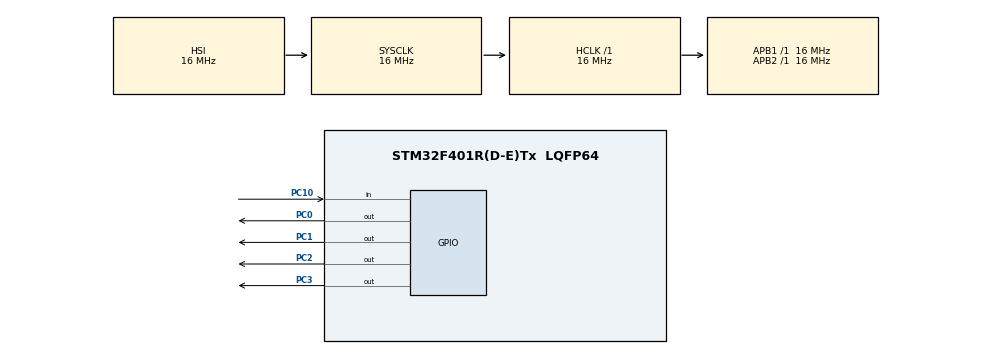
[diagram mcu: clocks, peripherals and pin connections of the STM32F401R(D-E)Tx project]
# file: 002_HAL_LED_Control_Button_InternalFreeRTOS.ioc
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FREERTOS.Tasks01=LedControl,0,128,StartLedTask,Default,NULL,Dynamic,NULL,NULL;ButtonControl,0,128,StartButtonControl,Default,NULL,Dynamic,NULL,NULL
FREERTOS.configIDLE_SHOULD_YIELD=0
FREERTOS.configMAX_TASK_NAME_LEN=16
Mcu.Family=STM32F4
Mcu.Name=STM32F401R(D-E)Tx
Mcu.Package=LQFP64
NVIC.PriorityGroup=NVIC_PRIORITYGROUP_4
PC0.GPIO_Speed=GPIO_SPEED_FREQ_HIGH
PC0.Signal=GPIO_Output
PC1.GPIO_Speed=GPIO_SPEED_FREQ_HIGH
PC1.Signal=GPIO_Output
PC10.GPIO_PuPd=GPIO_PULLDOWN
PC10.Signal=GPIO_Input
PC2.GPIO_Speed=GPIO_SPEED_FREQ_HIGH
PC2.Signal=GPIO_Output
PC3.GPIO_Speed=GPIO_SPEED_FREQ_HIGH
PC3.Signal=GPIO_Output
ProjectManager.HeapSize=0x200
ProjectManager.StackSize=0x400
ProjectManager.TargetToolchain=STM32CubeIDE
RCC.AHBFreq_Value=16000000
RCC.APB1Freq_Value=16000000
RCC.APB2Freq_Value=16000000
RCC.CortexFreq_Value=16000000
RCC.HSE_VALUE=25000000
RCC.HSI_VALUE=16000000
RCC.LSE_VALUE=32768
RCC.SYSCLKFreq_VALUE=16000000
RCC.VCOOutputFreq_Value=192000000
VP_FREERTOS_VS_CMSIS_V1.Mode=CMSIS_V1
board=custom

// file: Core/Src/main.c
/* USER CODE BEGIN Header */
/**
  ******************************************************************************
  * @file           : main.c
  * @brief          : Main program body
  ******************************************************************************
  * @attention
  *
  * Copyright (c) 2023 STMicroelectronics.
  * All rights reserved.
  *
  * This software is licensed under terms that can be found in the LICENSE file
  * in the root directory of this software component.
  * If no LICENSE file comes with this software, it is provided AS-IS.
  *
  ******************************************************************************
  */
/* USER CODE END Header */
#include "main.h"
#include "cmsis_os.h"

osThreadId LedControlHandle;  //TaskHandle_t LedControlHandle
osThreadId ButtonControlHandle; //TaskHandle_t ButtonControlHandle

void SystemClock_Config(void);
static void MX_GPIO_Init(void);

void StartLedTask(void const * argument);
void StartButtonControl(void const * argument);

/* USER CODE BEGIN 0 */
uint8_t count=0;
/* USER CODE END 0 */

int main(void)
{

  /* MCU Configuration--------------------------------------------------------*/

  /* Reset of all peripherals, Initializes the Flash interface and the Systick. */
  HAL_Init();

  /* Configure the system clock */
  SystemClock_Config();

  /* Initialize all configured peripherals */
  MX_GPIO_Init();

  /* Create the thread(s) */
  /* definition and creation of LedControl */
  osThreadDef(LedControl, StartLedTask, osPriorityNormal, 0,128);
  LedControlHandle = osThreadCreate(osThread(LedControl), NULL);

  //xTaskCreate(StartLedTask,"LedControl",128,NULL,2,&LedControlHandle)
  /* definition and creation of ButtonControl */
  osThreadDef(ButtonControl, StartButtonControl, osPriorityNormal, 0, 128);
  ButtonControlHandle = osThreadCreate(osThread(ButtonControl), NULL);
  //xTaskCreate(StartButtonControl,"ButtonControl",128,NULL,2,&ButtonControlHandle)

  /* Start scheduler */
  osKernelStart();
  // vTaskStartSchedular()

  /* We should never get here as control is now taken by the scheduler */
  /* Infinite loop */
  while (1)
  {

  }
}

void SystemClock_Config(void)
{
  RCC_OscInitTypeDef RCC_OscInitStruct = {0};
  RCC_ClkInitTypeDef RCC_ClkInitStruct = {0};

  /** Configure the main internal regulator output voltage
  */
  __HAL_RCC_PWR_CLK_ENABLE();
  __HAL_PWR_VOLTAGESCALING_CONFIG(PWR_REGULATOR_VOLTAGE_SCALE2);

  /** Initializes the RCC Oscillators according to the specified parameters
  * in the RCC_OscInitTypeDef structure.
  */
  RCC_OscInitStruct.OscillatorType = RCC_OSCILLATORTYPE_HSI;
  RCC_OscInitStruct.HSIState = RCC_HSI_ON;
  RCC_OscInitStruct.HSICalibrationValue = RCC_HSICALIBRATION_DEFAULT;
  RCC_OscInitStruct.PLL.PLLState = RCC_PLL_NONE;
  if (HAL_RCC_OscConfig(&RCC_OscInitStruct) != HAL_OK)
  {
    Error_Handler();
  }

  /** Initializes the CPU, AHB and APB buses clocks
  */
  RCC_ClkInitStruct.ClockType = RCC_CLOCKTYPE_HCLK|RCC_CLOCKTYPE_SYSCLK
                              |RCC_CLOCKTYPE_PCLK1|RCC_CLOCKTYPE_PCLK2;
  RCC_ClkInitStruct.SYSCLKSource = RCC_SYSCLKSOURCE_HSI;
  RCC_ClkInitStruct.AHBCLKDivider = RCC_SYSCLK_DIV1;
  RCC_ClkInitStruct.APB1CLKDivider = RCC_HCLK_DIV1;
  RCC_ClkInitStruct.APB2CLKDivider = RCC_HCLK_DIV1;

  if (HAL_RCC_ClockConfig(&RCC_ClkInitStruct, FLASH_LATENCY_0) != HAL_OK)
  {
    Error_Handler();
  }
}

static void MX_GPIO_Init(void)
{
  GPIO_InitTypeDef GPIO_InitStruct = {0};

  /* GPIO Ports Clock Enable */
  __HAL_RCC_GPIOC_CLK_ENABLE();

  /*Configure GPIO pin Output Level */
  HAL_GPIO_WritePin(GPIOC, GPIO_PIN_0|GPIO_PIN_1|GPIO_PIN_2|GPIO_PIN_3, GPIO_PIN_RESET);

  /*Configure GPIO pins : PC0 PC1 PC2 PC3 */
  GPIO_InitStruct.Pin = GPIO_PIN_0|GPIO_PIN_1|GPIO_PIN_2|GPIO_PIN_3;
  GPIO_InitStruct.Mode = GPIO_MODE_OUTPUT_PP;
  GPIO_InitStruct.Pull = GPIO_NOPULL;
  GPIO_InitStruct.Speed = GPIO_SPEED_FREQ_HIGH;
  HAL_GPIO_Init(GPIOC, &GPIO_InitStruct);

  /*Configure GPIO pin : PC10 */
  GPIO_InitStruct.Pin = GPIO_PIN_10;
  GPIO_InitStruct.Mode = GPIO_MODE_INPUT;
  GPIO_InitStruct.Pull = GPIO_PULLDOWN;
  HAL_GPIO_Init(GPIOC, &GPIO_InitStruct);

}

void StartLedTask(void const * argument)
{
  /* USER CODE BEGIN 5 */
  /* Infinite loop */
  for(;;)
  {
    if(count == 0)
    {
    	 HAL_GPIO_WritePin(GPIOC,GPIO_PIN_0|GPIO_PIN_1|GPIO_PIN_2|GPIO_PIN_3,GPIO_PIN_RESET);
    }
    else if(count == 1)
    {
    	 HAL_GPIO_TogglePin(GPIOC,GPIO_PIN_0|GPIO_PIN_1|GPIO_PIN_2|GPIO_PIN_3);
    	 osDelay(1000);
    }
    else if(count == 2)
    {
    	HAL_GPIO_TogglePin(GPIOC,GPIO_PIN_0|GPIO_PIN_1|GPIO_PIN_2|GPIO_PIN_3);
    	osDelay(750);
    }
    else if(count == 3)
    {
    	 HAL_GPIO_TogglePin(GPIOC,GPIO_PIN_0|GPIO_PIN_1|GPIO_PIN_2|GPIO_PIN_3);
    	 osDelay(500);
    }
    else if(count == 4)
    {
    	 HAL_GPIO_TogglePin(GPIOC,GPIO_PIN_0|GPIO_PIN_1|GPIO_PIN_2|GPIO_PIN_3);
    	 osDelay(250);
    }
  }
  /* USER CODE END 5 */
}

void StartButtonControl(void const * argument)
{
  /* USER CODE BEGIN StartButtonControl */
  /* Infinite loop */
  for(;;)
  {
     if(HAL_GPIO_ReadPin(GPIOC, GPIO_PIN_10) == GPIO_PIN_SET)
     {
    	 while(HAL_GPIO_ReadPin(GPIOC, GPIO_PIN_10) == GPIO_PIN_SET);
    	 count++;
    	 if(count == 5)
    	 {
    		 count=0;
    	 }
     }
  }
  /* USER CODE END StartButtonControl */
}

void Error_Handler(void)
{
  __disable_irq();
  while (1)
  {
  }
}
